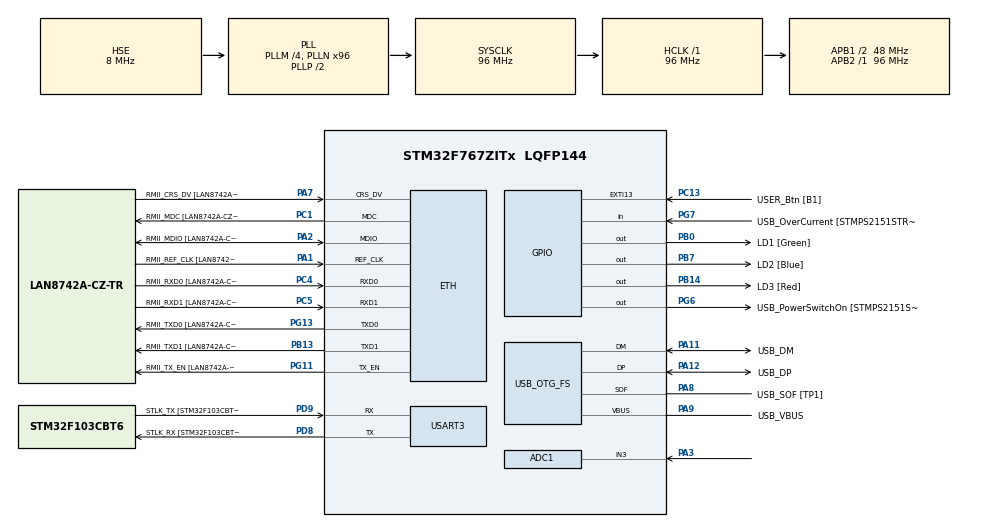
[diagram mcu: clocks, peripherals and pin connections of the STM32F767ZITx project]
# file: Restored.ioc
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ADC1.Channel-0\#ChannelRegularConversion=ADC_CHANNEL_3
ADC1.ClockPrescaler=ADC_CLOCK_SYNC_PCLK_DIV8
ADC1.ContinuousConvMode=ENABLE
ADC1.DMAContinuousRequests=DISABLE
ADC1.NbrOfConversionFlag=1
ADC1.Rank-0\#ChannelRegularConversion=1
ADC1.SamplingTime-0\#ChannelRegularConversion=ADC_SAMPLETIME_3CYCLES
ADC1.master=1
ETH.MediaInterface=HAL_ETH_RMII_MODE
ETH.PHY_Name=LAN8742A_PHY_ADDRESS
ETH.PHY_Value=0
ETH.PhyAddress=0
Mcu.Family=STM32F7
Mcu.Name=STM32F767ZITx
Mcu.Package=LQFP144
NVIC.EXTI15_10_IRQn=true\:0\:0\:false\:false\:true\:true\:true\:true
NVIC.PriorityGroup=NVIC_PRIORITYGROUP_4
NVIC.TIM6_DAC_IRQn=true\:0\:0\:false\:false\:true\:true\:true\:true
NVIC.USART3_IRQn=true\:0\:0\:false\:false\:true\:true\:true\:true
PA1.GPIO_Label=RMII_REF_CLK [LAN8742A-CZ-TR_REFCLK0]
PA1.Mode=RMII
PA1.Signal=ETH_REF_CLK
PA10.GPIO_Label=USB_ID
PA10.Signal=USB_OTG_FS_ID
PA11.GPIO_Label=USB_DM
PA11.Mode=Device_Only
PA11.Signal=USB_OTG_FS_DM
PA12.GPIO_Label=USB_DP
PA12.Mode=Device_Only
PA12.Signal=USB_OTG_FS_DP
PA13.GPIO_Label=TMS
PA13.Mode=Serial_Wire
PA13.Signal=SYS_JTMS-SWDIO
PA14.GPIO_Label=TCK
PA14.Mode=Serial_Wire
PA14.Signal=SYS_JTCK-SWCLK
PA2.GPIO_Label=RMII_MDIO [LAN8742A-CZ-TR_MDIO]
PA2.Mode=RMII
PA2.Signal=ETH_MDIO
PA3.Signal=ADCx_IN3
PA7.GPIO_Label=RMII_CRS_DV [LAN8742A-CZ-TR_CRS_DV]
PA7.Mode=RMII
PA7.Signal=ETH_CRS_DV
PA8.GPIO_Label=USB_SOF [TP1]
PA8.Mode=Activate_SOF_FS
PA8.Signal=USB_OTG_FS_SOF
PA9.GPIO_Label=USB_VBUS
PA9.Mode=Activate_VBUS
PA9.Signal=USB_OTG_FS_VBUS
PB0.GPIO_Label=LD1 [Green]
PB0.Signal=GPIO_Output
PB13.GPIO_Label=RMII_TXD1 [LAN8742A-CZ-TR_TXD1]
PB13.Mode=RMII
PB13.Signal=ETH_TXD1
PB14.GPIO_Label=LD3 [Red]
PB14.Signal=GPIO_Output
PB3.GPIO_Label=SWO
PB3.Signal=SYS_JTDO-SWO
PB7.GPIO_Label=LD2 [Blue]
PB7.Signal=GPIO_Output
PC1.GPIO_Label=RMII_MDC [LAN8742A-CZ-TR_MDC]
PC1.Mode=RMII
PC1.Signal=ETH_MDC
PC13.GPIO_Label=USER_Btn [B1]
PC13.GPIO_PuPd=GPIO_PULLDOWN
PC13.Signal=GPXTI13
PC14/OSC32_IN.Mode=LSE-External-Oscillator
PC14/OSC32_IN.Signal=RCC_OSC32_IN
PC15/OSC32_OUT.Mode=LSE-External-Oscillator
PC15/OSC32_OUT.Signal=RCC_OSC32_OUT
PC4.GPIO_Label=RMII_RXD0 [LAN8742A-CZ-TR_RXD0]
PC4.Mode=RMII
PC4.Signal=ETH_RXD0
PC5.GPIO_Label=RMII_RXD1 [LAN8742A-CZ-TR_RXD1]
PC5.Mode=RMII
PC5.Signal=ETH_RXD1
PD8.GPIO_Label=STLK_RX [STM32F103CBT6_PA3]
PD8.Mode=Asynchronous
PD8.Signal=USART3_TX
PD9.GPIO_Label=STLK_TX [STM32F103CBT6_PA2]
PD9.Mode=Asynchronous
PD9.Signal=USART3_RX
PG11.GPIO_Label=RMII_TX_EN [LAN8742A-CZ-TR_TXEN]
PG11.Mode=RMII
PG11.Signal=ETH_TX_EN
PG13.GPIO_Label=RMII_TXD0 [LAN8742A-CZ-TR_TXD0]
PG13.Mode=RMII
PG13.Signal=ETH_TXD0
PG6.GPIO_Label=USB_PowerSwitchOn [STMPS2151STR_EN]
PG6.Signal=GPIO_Output
PG7.GPIO_Label=USB_OverCurrent [STMPS2151STR_FAULT]
PG7.Signal=GPIO_Input
PH0/OSC_IN.GPIO_Label=MCO [STM32F103CBT6_PA8]
PH0/OSC_IN.Mode=HSE-External-Clock-Source
PH0/OSC_IN.Signal=RCC_OSC_IN
PH1/OSC_OUT.Mode=HSE-External-Clock-Source
PH1/OSC_OUT.Signal=RCC_OSC_OUT
ProjectManager.HeapSize=0x200
ProjectManager.StackSize=0x400
ProjectManager.TargetToolchain=STM32CubeIDE
RCC.48MHZClocksFreq_Value=24000000
RCC.AHBFreq_Value=96000000
RCC.APB1CLKDivider=RCC_HCLK_DIV2
RCC.APB1Freq_Value=48000000
RCC.APB1TimFreq_Value=96000000
RCC.APB2Freq_Value=96000000
RCC.APB2TimFreq_Value=96000000
RCC.CortexFreq_Value=96000000
RCC.HCLKFreq_Value=96000000
RCC.HSE_VALUE=8000000
RCC.HSI_VALUE=16000000
RCC.PLLM=4
RCC.PLLMUL=RCC_PLL_MUL9
RCC.PLLN=96
RCC.PLLQ=4
RCC.PRESCALERUSB=RCC_USBCLKSOURCE_PLL_DIV1_5
RCC.SYSCLKFreq_VALUE=96000000
RCC.SYSCLKSource=RCC_SYSCLKSOURCE_PLLCLK
RCC.SYSCLKSourceVirtual=RCC_SYSCLKSOURCE_PLLCLK
RCC.USBFreq_Value=48000000
RCC.VCOOutputFreq_Value=192000000
SH.ADCx_IN3.0=ADC1_IN3,IN3
TIM6.Period=800-1
TIM6.Prescaler=24-1
USART3.VirtualMode-Asynchronous=VM_ASYNC
USB_OTG_FS.VirtualMode=Device_Only
VP_RTC_VS_RTC_Activate.Mode=RTC_Enabled
VP_RTC_VS_RTC_Calendar.Mode=RTC_Calendar
VP_TIM6_VS_ClockSourceINT.Mode=Enable_Timer
board=NUCLEO-F767ZI

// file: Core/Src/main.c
/* USER CODE BEGIN Header */
/**
  ******************************************************************************
  * @file           : main.c
  * @brief          : Main program body
  ******************************************************************************
  * @attention
  *
  * Copyright (c) 2023 STMicroelectronics.
  * All rights reserved.
  *
  * This software is licensed under terms that can be found in the LICENSE file
  * in the root directory of this software component.
  * If no LICENSE file comes with this software, it is provided AS-IS.
  *
  ******************************************************************************
  */
/* USER CODE END Header */
#include "main.h"
#include "string.h"

/* USER CODE BEGIN Includes */
#include <stdio.h>
#include <stdbool.h>
#include <stdlib.h>
#include <stdint.h>
#include <math.h>
#include <float.h>
#include "mylib.h"
#include "wavelib.h"
#include "retarget.h"
#include "defines.h"
#include "model.h"
/* USER CODE END Includes */

#if defined ( __ICCARM__ ) /*!< IAR Compiler */
#pragma location=0x2007c000
ETH_DMADescTypeDef  DMARxDscrTab[ETH_RX_DESC_CNT]; /* Ethernet Rx DMA Descriptors */
#pragma location=0x2007c0a0
ETH_DMADescTypeDef  DMATxDscrTab[ETH_TX_DESC_CNT]; /* Ethernet Tx DMA Descriptors */

#elif defined ( __CC_ARM )  /* MDK ARM Compiler */

__attribute__((at(0x2007c000))) ETH_DMADescTypeDef  DMARxDscrTab[ETH_RX_DESC_CNT]; /* Ethernet Rx DMA Descriptors */
__attribute__((at(0x2007c0a0))) ETH_DMADescTypeDef  DMATxDscrTab[ETH_TX_DESC_CNT]; /* Ethernet Tx DMA Descriptors */

#elif defined ( __GNUC__ ) /* GNU Compiler */
ETH_DMADescTypeDef DMARxDscrTab[ETH_RX_DESC_CNT] __attribute__((section(".RxDecripSection"))); /* Ethernet Rx DMA Descriptors */
ETH_DMADescTypeDef DMATxDscrTab[ETH_TX_DESC_CNT] __attribute__((section(".TxDecripSection")));   /* Ethernet Tx DMA Descriptors */

#endif

ETH_TxPacketConfig TxConfig;

ADC_HandleTypeDef hadc1;

ETH_HandleTypeDef heth;

RTC_HandleTypeDef hrtc;

TIM_HandleTypeDef htim6;

UART_HandleTypeDef huart3;

PCD_HandleTypeDef hpcd_USB_OTG_FS;

/* USER CODE BEGIN PV */
bool snap_request 	= FALSE;					// set true to request a snapshot acquisition
bool snap_recorded 	= FALSE;					// snap recording finished flag
bool evaluate_flag 	= FALSE;					// evaluate snap request flag
print_timeserie_flag = FALSE;					// transmit timeseries flag
bool transmit_flag 	= FALSE;					// transmit snap features request flag
uint16_t adc_buf[ADC_BUF_LEN]; 					// reserve a buffer for the analogue readings
uint16_t timer_index = 0;						// index for the timer interrupt analog conversion

int feat_len = 7;//TD_FEAT + pow(2,TREE_DEPTH); 	// features array length
double *feat_array = NULL;						/* features array {0, ... ,TD_FEAT-1, TDFEAT, feat_len-1}
																time-domain		...		freq-domain		*/
double *feat_stdsd = NULL;
char timestamp[13];								// timestamp string
uint32_t tickmem = 0;							// for debluncing the INPUT
uint8_t Rx_data[10];  							//  creating a buffer of 10 bytes to hold the command from python
/* USER CODE END PV */

void SystemClock_Config(void);
static void MX_GPIO_Init(void);
static void MX_USART3_UART_Init(void);
static void MX_USB_OTG_FS_PCD_Init(void);
static void MX_ADC1_Init(void);
static void MX_ETH_Init(void);
static void MX_TIM6_Init(void);
static void MX_RTC_Init(void);

int main(void)
{
	  /* USER CODE BEGIN 1 */
		int feat_len = TD_FEAT + pow(2,TREE_DEPTH); 			// features array length
		if(Use7Features){
			feat_len = 7; // to reduce the features span to look for
			printf("feat_len = %d", feat_len);
		}
		feat_array = (double *)malloc(sizeof(double) * feat_len);	/* features array {0, ... ,TD_FEAT-1, TDFEAT, feat_len-1}
																		time-domain		...		freq-domain		*/
		feat_stdsd = (double *)malloc(sizeof(double) * feat_len); // standardised features
	  /* USER CODE END 1 */

  /* MCU Configuration--------------------------------------------------------*/

  /* Reset of all peripherals, Initializes the Flash interface and the Systick. */
  HAL_Init();

  /* Configure the system clock */
  SystemClock_Config();

  /* Initialize all configured peripherals */
  MX_GPIO_Init();
  MX_USART3_UART_Init();
  MX_USB_OTG_FS_PCD_Init();
  MX_ADC1_Init();
  MX_ETH_Init();
  MX_TIM6_Init();
  MX_RTC_Init();
  /* USER CODE BEGIN 2 */
  RetargetInit(&huart3); 						// redirect printf and scanf to huart
  HAL_TIM_Base_Start_IT(&htim6);  			// start the timer 5 kHz
  HAL_UART_Receive_IT(&huart3, Rx_data, 1); 	// start new data read from huart
  /* USER CODE END 2 */

  /* Infinite loop */
  /* USER CODE BEGIN WHILE */
  printf(" \r\n Entering the superloop... \r\n");
  while (1)
  {
	  snapReadyHandler();
    /* USER CODE END WHILE */

  }
}

void SystemClock_Config(void)
{
  RCC_OscInitTypeDef RCC_OscInitStruct = {0};
  RCC_ClkInitTypeDef RCC_ClkInitStruct = {0};

  /** Configure LSE Drive Capability
  */
  HAL_PWR_EnableBkUpAccess();

  /** Configure the main internal regulator output voltage
  */
  __HAL_RCC_PWR_CLK_ENABLE();
  __HAL_PWR_VOLTAGESCALING_CONFIG(PWR_REGULATOR_VOLTAGE_SCALE3);

  /** Initializes the RCC Oscillators according to the specified parameters
  * in the RCC_OscInitTypeDef structure.
  */
  RCC_OscInitStruct.OscillatorType = RCC_OSCILLATORTYPE_LSI|RCC_OSCILLATORTYPE_HSE;
  RCC_OscInitStruct.HSEState = RCC_HSE_BYPASS;
  RCC_OscInitStruct.LSIState = RCC_LSI_ON;
  RCC_OscInitStruct.PLL.PLLState = RCC_PLL_ON;
  RCC_OscInitStruct.PLL.PLLSource = RCC_PLLSOURCE_HSE;
  RCC_OscInitStruct.PLL.PLLM = 4;
  RCC_OscInitStruct.PLL.PLLN = 96;
  RCC_OscInitStruct.PLL.PLLP = RCC_PLLP_DIV2;
  RCC_OscInitStruct.PLL.PLLQ = 4;
  RCC_OscInitStruct.PLL.PLLR = 2;
  if (HAL_RCC_OscConfig(&RCC_OscInitStruct) != HAL_OK)
  {
    Error_Handler();
  }

  /** Activate the Over-Drive mode
  */
  if (HAL_PWREx_EnableOverDrive() != HAL_OK)
  {
    Error_Handler();
  }

  /** Initializes the CPU, AHB and APB buses clocks
  */
  RCC_ClkInitStruct.ClockType = RCC_CLOCKTYPE_HCLK|RCC_CLOCKTYPE_SYSCLK
                              |RCC_CLOCKTYPE_PCLK1|RCC_CLOCKTYPE_PCLK2;
  RCC_ClkInitStruct.SYSCLKSource = RCC_SYSCLKSOURCE_PLLCLK;
  RCC_ClkInitStruct.AHBCLKDivider = RCC_SYSCLK_DIV1;
  RCC_ClkInitStruct.APB1CLKDivider = RCC_HCLK_DIV2;
  RCC_ClkInitStruct.APB2CLKDivider = RCC_HCLK_DIV1;

  if (HAL_RCC_ClockConfig(&RCC_ClkInitStruct, FLASH_LATENCY_3) != HAL_OK)
  {
    Error_Handler();
  }
}

static void MX_ADC1_Init(void)
{

  ADC_ChannelConfTypeDef sConfig = {0};

  /** Configure the global features of the ADC (Clock, Resolution, Data Alignment and number of conversion)
  */
  hadc1.Instance = ADC1;
  hadc1.Init.ClockPrescaler = ADC_CLOCK_SYNC_PCLK_DIV8;
  hadc1.Init.Resolution = ADC_RESOLUTION_12B;
  hadc1.Init.ScanConvMode = ADC_SCAN_DISABLE;
  hadc1.Init.ContinuousConvMode = ENABLE;
  hadc1.Init.DiscontinuousConvMode = DISABLE;
  hadc1.Init.ExternalTrigConvEdge = ADC_EXTERNALTRIGCONVEDGE_NONE;
  hadc1.Init.ExternalTrigConv = ADC_SOFTWARE_START;
  hadc1.Init.DataAlign = ADC_DATAALIGN_RIGHT;
  hadc1.Init.NbrOfConversion = 1;
  hadc1.Init.DMAContinuousRequests = DISABLE;
  hadc1.Init.EOCSelection = ADC_EOC_SINGLE_CONV;
  if (HAL_ADC_Init(&hadc1) != HAL_OK)
  {
    Error_Handler();
  }

  /** Configure for the selected ADC regular channel its corresponding rank in the sequencer and its sample time.
  */
  sConfig.Channel = ADC_CHANNEL_3;
  sConfig.Rank = ADC_REGULAR_RANK_1;
  sConfig.SamplingTime = ADC_SAMPLETIME_3CYCLES;
  if (HAL_ADC_ConfigChannel(&hadc1, &sConfig) != HAL_OK)
  {
    Error_Handler();
  }

}

static void MX_ETH_Init(void)
{

   static uint8_t MACAddr[6];

  heth.Instance = ETH;
  MACAddr[0] = 0x00;
  MACAddr[1] = 0x80;
  MACAddr[2] = 0xE1;
  MACAddr[3] = 0x00;
  MACAddr[4] = 0x00;
  MACAddr[5] = 0x00;
  heth.Init.MACAddr = &MACAddr[0];
  heth.Init.MediaInterface = HAL_ETH_RMII_MODE;
  heth.Init.TxDesc = DMATxDscrTab;
  heth.Init.RxDesc = DMARxDscrTab;
  heth.Init.RxBuffLen = 1524;

  if (HAL_ETH_Init(&heth) != HAL_OK)
  {
    Error_Handler();
  }

  memset(&TxConfig, 0 , sizeof(ETH_TxPacketConfig));
  TxConfig.Attributes = ETH_TX_PACKETS_FEATURES_CSUM | ETH_TX_PACKETS_FEATURES_CRCPAD;
  TxConfig.ChecksumCtrl = ETH_CHECKSUM_IPHDR_PAYLOAD_INSERT_PHDR_CALC;
  TxConfig.CRCPadCtrl = ETH_CRC_PAD_INSERT;

}

static void MX_RTC_Init(void)
{

  RTC_TimeTypeDef sTime = {0};
  RTC_DateTypeDef sDate = {0};

  /** Initialize RTC Only
  */
  hrtc.Instance = RTC;
  hrtc.Init.HourFormat = RTC_HOURFORMAT_24;
  hrtc.Init.AsynchPrediv = 127;
  hrtc.Init.SynchPrediv = 255;
  hrtc.Init.OutPut = RTC_OUTPUT_DISABLE;
  hrtc.Init.OutPutPolarity = RTC_OUTPUT_POLARITY_HIGH;
  hrtc.Init.OutPutType = RTC_OUTPUT_TYPE_OPENDRAIN;
  if (HAL_RTC_Init(&hrtc) != HAL_OK)
  {
    Error_Handler();
  }

  /** Initialize RTC and set the Time and Date
  */
  sTime.Hours = 0x0;
  sTime.Minutes = 0x0;
  sTime.Seconds = 0x0;
  sTime.DayLightSaving = RTC_DAYLIGHTSAVING_NONE;
  sTime.StoreOperation = RTC_STOREOPERATION_RESET;
  if (HAL_RTC_SetTime(&hrtc, &sTime, RTC_FORMAT_BCD) != HAL_OK)
  {
    Error_Handler();
  }
  sDate.WeekDay = RTC_WEEKDAY_MONDAY;
  sDate.Month = RTC_MONTH_JANUARY;
  sDate.Date = 0x1;
  sDate.Year = 0x0;

  if (HAL_RTC_SetDate(&hrtc, &sDate, RTC_FORMAT_BCD) != HAL_OK)
  {
    Error_Handler();
  }

}

static void MX_TIM6_Init(void)
{

  TIM_MasterConfigTypeDef sMasterConfig = {0};

  htim6.Instance = TIM6;
  htim6.Init.Prescaler = 24-1;
  htim6.Init.CounterMode = TIM_COUNTERMODE_UP;
  htim6.Init.Period = 800-1;
  htim6.Init.AutoReloadPreload = TIM_AUTORELOAD_PRELOAD_DISABLE;
  if (HAL_TIM_Base_Init(&htim6) != HAL_OK)
  {
    Error_Handler();
  }
  sMasterConfig.MasterOutputTrigger = TIM_TRGO_RESET;
  sMasterConfig.MasterSlaveMode = TIM_MASTERSLAVEMODE_DISABLE;
  if (HAL_TIMEx_MasterConfigSynchronization(&htim6, &sMasterConfig) != HAL_OK)
  {
    Error_Handler();
  }

}

static void MX_USART3_UART_Init(void)
{

  huart3.Instance = USART3;
  huart3.Init.BaudRate = 115200;
  huart3.Init.WordLength = UART_WORDLENGTH_8B;
  huart3.Init.StopBits = UART_STOPBITS_1;
  huart3.Init.Parity = UART_PARITY_NONE;
  huart3.Init.Mode = UART_MODE_TX_RX;
  huart3.Init.HwFlowCtl = UART_HWCONTROL_NONE;
  huart3.Init.OverSampling = UART_OVERSAMPLING_16;
  huart3.Init.OneBitSampling = UART_ONE_BIT_SAMPLE_DISABLE;
  huart3.AdvancedInit.AdvFeatureInit = UART_ADVFEATURE_NO_INIT;
  if (HAL_UART_Init(&huart3) != HAL_OK)
  {
    Error_Handler();
  }

}

static void MX_USB_OTG_FS_PCD_Init(void)
{

  hpcd_USB_OTG_FS.Instance = USB_OTG_FS;
  hpcd_USB_OTG_FS.Init.dev_endpoints = 6;
  hpcd_USB_OTG_FS.Init.speed = PCD_SPEED_FULL;
  hpcd_USB_OTG_FS.Init.dma_enable = DISABLE;
  hpcd_USB_OTG_FS.Init.phy_itface = PCD_PHY_EMBEDDED;
  hpcd_USB_OTG_FS.Init.Sof_enable = ENABLE;
  hpcd_USB_OTG_FS.Init.low_power_enable = DISABLE;
  hpcd_USB_OTG_FS.Init.lpm_enable = DISABLE;
  hpcd_USB_OTG_FS.Init.vbus_sensing_enable = ENABLE;
  hpcd_USB_OTG_FS.Init.use_dedicated_ep1 = DISABLE;
  if (HAL_PCD_Init(&hpcd_USB_OTG_FS) != HAL_OK)
  {
    Error_Handler();
  }

}

static void MX_GPIO_Init(void)
{
  GPIO_InitTypeDef GPIO_InitStruct = {0};

  /* GPIO Ports Clock Enable */
  __HAL_RCC_GPIOC_CLK_ENABLE();
  __HAL_RCC_GPIOH_CLK_ENABLE();
  __HAL_RCC_GPIOA_CLK_ENABLE();
  __HAL_RCC_GPIOB_CLK_ENABLE();
  __HAL_RCC_GPIOD_CLK_ENABLE();
  __HAL_RCC_GPIOG_CLK_ENABLE();

  /*Configure GPIO pin Output Level */
  HAL_GPIO_WritePin(GPIOB, LD1_Pin|LD3_Pin|LD2_Pin, GPIO_PIN_RESET);

  /*Configure GPIO pin Output Level */
  HAL_GPIO_WritePin(USB_PowerSwitchOn_GPIO_Port, USB_PowerSwitchOn_Pin, GPIO_PIN_RESET);

  /*Configure GPIO pin : USER_Btn_Pin */
  GPIO_InitStruct.Pin = USER_Btn_Pin;
  GPIO_InitStruct.Mode = GPIO_MODE_IT_RISING;
  GPIO_InitStruct.Pull = GPIO_PULLDOWN;
  HAL_GPIO_Init(USER_Btn_GPIO_Port, &GPIO_InitStruct);

  /*Configure GPIO pins : LD1_Pin LD3_Pin LD2_Pin */
  GPIO_InitStruct.Pin = LD1_Pin|LD3_Pin|LD2_Pin;
  GPIO_InitStruct.Mode = GPIO_MODE_OUTPUT_PP;
  GPIO_InitStruct.Pull = GPIO_NOPULL;
  GPIO_InitStruct.Speed = GPIO_SPEED_FREQ_LOW;
  HAL_GPIO_Init(GPIOB, &GPIO_InitStruct);

  /*Configure GPIO pin : USB_PowerSwitchOn_Pin */
  GPIO_InitStruct.Pin = USB_PowerSwitchOn_Pin;
  GPIO_InitStruct.Mode = GPIO_MODE_OUTPUT_PP;
  GPIO_InitStruct.Pull = GPIO_NOPULL;
  GPIO_InitStruct.Speed = GPIO_SPEED_FREQ_LOW;
  HAL_GPIO_Init(USB_PowerSwitchOn_GPIO_Port, &GPIO_InitStruct);

  /*Configure GPIO pin : USB_OverCurrent_Pin */
  GPIO_InitStruct.Pin = USB_OverCurrent_Pin;
  GPIO_InitStruct.Mode = GPIO_MODE_INPUT;
  GPIO_InitStruct.Pull = GPIO_NOPULL;
  HAL_GPIO_Init(USB_OverCurrent_GPIO_Port, &GPIO_InitStruct);

  /* EXTI interrupt init*/
  HAL_NVIC_SetPriority(EXTI15_10_IRQn, 0, 0);
  HAL_NVIC_EnableIRQ(EXTI15_10_IRQn);

}

/* USER CODE BEGIN 4 */
void setRTCclock() {
	RTC_TimeTypeDef sTime;
	RTC_DateTypeDef sDate;

	int year, month, day, hour, minute, second;

	// Get date and time from the user
	printf("Enter the date and time (YYYY MM DD hh mm ss): ");
	scanf("%d %d %d %d %d %d", &year, &month, &day, &hour, &minute, &second);

	// Set the Date
	sDate.Year = year - 2000;
	sDate.Month = month;
	sDate.Date = day;
	sDate.WeekDay = RTC_WEEKDAY_MONDAY;

	if (HAL_RTC_SetDate(&hrtc, &sDate, RTC_FORMAT_BIN) != HAL_OK) {
		/* Initialization Error */
		Error_Handler();
	}

	// Set the Time
	sTime.Hours = hour;
	sTime.Minutes = minute;
	sTime.Seconds = second;
	sTime.DayLightSaving = RTC_DAYLIGHTSAVING_NONE;
	sTime.StoreOperation = RTC_STOREOPERATION_RESET;

	if (HAL_RTC_SetTime(&hrtc, &sTime, RTC_FORMAT_BIN) != HAL_OK) {
		/* Initialization Error */
		Error_Handler();
	}

	printf("RTC clock set successfully.\n");
	return;
}

void get_time()
{
	RTC_DateTypeDef gDate;
	RTC_TimeTypeDef gTime;
	/* Get the RTC current Time */
	HAL_RTC_GetTime(&hrtc, &gTime, RTC_FORMAT_BIN);
	/* Get the RTC current Date */
	HAL_RTC_GetDate(&hrtc, &gDate, RTC_FORMAT_BIN);
	/* Display time Format: YYYYMMDDhhmmss */
	sprintf(timestamp,"%04d%02d%02d%02d%02d%02d",2000 + gDate.Year,gDate.Month, gDate.Date,gTime.Hours, gTime.Minutes, gTime.Seconds);
	return ;
}

void acquireSnapshot(){
	snap_recorded = FALSE;						// clear ouput flag
	snap_request = TRUE;						// request a snapshot
	return;
}

double calcSnapDistanceError(){
	double distance_assgined_cluster = DBL_MAX; // initialise the minimum distance to MAX double possible, update it
	// and than it is the distance to the assigned cluster
	double distance, error;
	int assigned_cluster = -1;	// initialise to impossible value
	for (int i = 0; i < n_clusters; ++i) {
		distance = eucDist(feat_stdsd, centers[i], feat_len); // compute the distance to all the centers (WARNING!!! - not sure if centers[i] works)
		if(distance < distance_assgined_cluster){			// if found a new minimum, save it
			assigned_cluster = i;	// assign a new cluster
			distance_assgined_cluster = distance;			// assign the distance to current cluster
		}
	}
	error = (distance_assgined_cluster-radiuses[assigned_cluster])/radiuses[assigned_cluster]; // removed because division by 0 problem - redone because now min cluster size = 2
	return error;
}

void std_sclr(){
	for(int i=0; i<feat_len; i++){
		feat_stdsd[i]=(feat_array[i]-means[i])/stds[i];//*weights[i];
	}
}

void snapReadyHandler(){
	if(!snap_recorded){
		return;
	}
	else
	{
		snap_recorded = FALSE;		// reset the recorded flag, because the sample has been consumed

		/* ACTIONS TO PERFORM WHEN A NEW TIME-DOMAIN SNAP IS READY */
		if(1){
			printf("About to extract features with feat_len = %d", feat_len);
		}
		feat_array = featureExtractor(adc_buf, ADC_BUF_LEN, TREE_DEPTH, feat_len, feat_array); // extract the features
		if (transmit_flag){
			myprintf("the time-domain sampled signal is: \r\n\n");
			if(VERBOSE){printUint16_tArray(adc_buf, ADC_BUF_LEN);}
			if(print_timeserie_flag){
				print_timeserie_flag = FALSE;
				printf(" \r\nthe time-domain sampled signal is: \r\n");
				printUint16_tArray(adc_buf, ADC_BUF_LEN);
				printf(" \r\ntime-domain end");
			}
			get_time(timestamp);
			printf(" \r\nSnapshot recorded. \r\nTimestamp: %s \r\nFeatures: \r\n",timestamp);
			printDoubleArray(feat_array, feat_len);
			printf(" \r\nEnd of features. \r\n");
			transmit_flag = FALSE;
		}
		if(evaluate_flag){ // evaluate the snaposhot
			std_sclr();  	// standardise the snapshot
			double indicator;
			indicator = calcSnapDistanceError();
			printf("Novelty indicator: %.15e\n",indicator);
			evaluate_flag = FALSE;
		}
		printf(" \r\nTransmission finished \r\n");
		HAL_UART_Receive_IT(&huart3, Rx_data, 1); // start new data read from huart
		return;
	}
}

void USR_BTN_handler(){							// handle the press of user button
	/* debounce the button */
	uint16_t current_time = HAL_GetTick();
	if ((tickmem + 100) > current_time){
		return;
	}
	else{
		tickmem = HAL_GetTick();
	}

	printf(" \r\nPlease enter a command: \r\n-1 = acquire and transmit a snapshot (time-domain) \r\n-2 = set the clock \r\n");
	printf("-3 = acquire and evaluate a snapshot \r\n");
	printf("-4 = acquire, evaluate and transmit a snapshot \r\n");
	int command;
	//scanf("%u", &command);
	command = 1; // for testing
	switch(command){
	case 1:
		acquireSnapshot();
		transmit_flag = TRUE;
		break;
	case 2:
		setRTCclock();
		break;
	case 3:
		acquireSnapshot();
		evaluate_flag = TRUE;
	case 4:
		acquireSnapshot();
		transmit_flag = TRUE;
		evaluate_flag = TRUE;
	}
	command = 0;								//	reset command
	return;
}

void HAL_GPIO_EXTI_Callback(uint16_t GPIO_Pin) // GPIO interrupt handler
{
	if(GPIO_Pin == 0x2000){ // if user btn is pressed
		USR_BTN_handler();
	}
	else{
		printf("Unknown GPIO interrupt happened");
	}
}

void HAL_UART_RxCpltCallback(UART_HandleTypeDef *huart)
{
  // this is executed when the data is received from HUART
	if(Rx_data[0] == '1'){ // this is for training purposes - transmit the features
		acquireSnapshot();
		transmit_flag = TRUE;
	}
	else if (Rx_data[0] == '2') { // this is for testing - transmit the features and the metric
		acquireSnapshot();
		transmit_flag = TRUE;
		evaluate_flag = TRUE;
	}
	else if (Rx_data[0] == '3') { // for debug, transmit the timeserie, and the feature, and the metric
		acquireSnapshot();
		transmit_flag = TRUE;
		evaluate_flag = TRUE;
		print_timeserie_flag = TRUE;
	}
	else{
		Error_Handler();
	}
}

void HAL_TIM_PeriodElapsedCallback(TIM_HandleTypeDef *htim){
	if(htim == &htim6 && snap_request == TRUE){ // if the timer is the analog management and the conversion is REQUESTED
		// Get ADC value
		HAL_ADC_Start(&hadc1);
		HAL_ADC_PollForConversion(&hadc1, HAL_MAX_DELAY);
		adc_buf[timer_index]= HAL_ADC_GetValue(&hadc1); // save the value in the array
		HAL_GPIO_TogglePin(GPIOB, LED_GRE);			// for debug purposes
		timer_index ++;
		if(timer_index>=ADC_BUF_LEN){					// if acquisition completed
			timer_index=0;								// reset index for next time
			snap_recorded = TRUE; 						// conversion complete flag
			snap_request = 	FALSE;						// conversion completed, reset request
		}
	}
}

/* USER CODE END 4 */

void Error_Handler(void)
{
  /* USER CODE BEGIN Error_Handler_Debug */
  /* User can add his own implementation to report the HAL error return state */
  __disable_irq();
  while (1)
  {
	  HAL_GPIO_WritePin(GPIOB, LED_RED, GPIO_PIN_SET);
  }
  /* USER CODE END Error_Handler_Debug */
}
